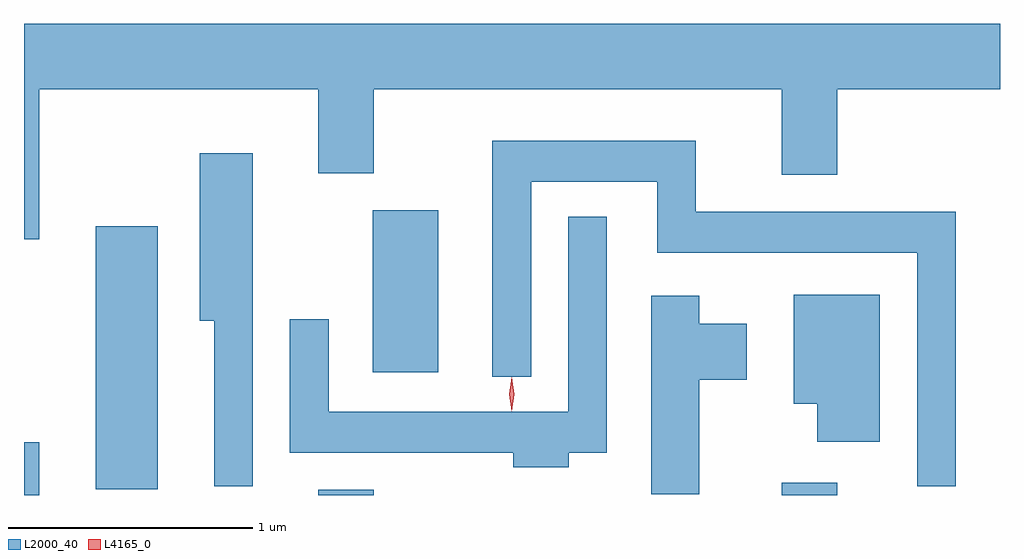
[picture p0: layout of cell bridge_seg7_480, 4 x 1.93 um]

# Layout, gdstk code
import gdstk
lib = gdstk.Library(unit=1e-6, precision=1e-09)
def R(c, l, rs):  # rectangles x0, y0, x1, y1
    for r in rs: c.add(gdstk.rectangle(r[:2], r[2:], *l))
def P(c, l, *ps):  # polygons
    for p in ps: c.add(gdstk.Polygon(p, *l))
L2000_40 = (2000, 40)
L4165_0 = (4165, 0)

bridge_seg7_480 = lib.new_cell('bridge_seg7_480')
R(bridge_seg7_480, L2000_40, [(1420.776,1668.252,1420.839,1668.469), (1421.981,1668.252,1422.209,1668.274), (1423.881,1668.252,1424.109,1668.304), (1421.071,1668.276,1421.324,1669.354), (1422.206,1668.756,1422.474,1669.419)])
P(bridge_seg7_480, L2000_40, [(1420.839,1669.916),(1421.981,1669.916),(1421.981,1669.571),(1422.209,1669.571),(1422.209,1669.916),(1423.881,1669.916),(1423.881,1669.566),(1424.109,1669.566),(1424.109,1669.916),(1424.776,1669.916),(1424.776,1670.184),(1420.776,1670.184),(1420.776,1669.301),(1420.839,1669.301)],
  [(1424.594,1669.414),(1423.529,1669.414),(1423.529,1669.704),(1422.696,1669.704),(1422.696,1668.738),(1422.854,1668.738),(1422.854,1669.536),(1423.371,1669.536),(1423.371,1669.246),(1424.436,1669.246),(1424.436,1668.288),(1424.594,1668.288)],
  [(1421.714,1669.654),(1421.496,1669.654),(1421.496,1668.966),(1421.556,1668.966),(1421.556,1668.288),(1421.714,1668.288)],
  [(1423.009,1668.426),(1423.164,1668.426),(1423.164,1669.393),(1423.006,1669.393),(1423.006,1668.594),(1422.024,1668.594),(1422.024,1668.973),(1421.866,1668.973),(1421.866,1668.426),(1422.781,1668.426),(1422.781,1668.366),(1423.009,1668.366)],
  [(1424.284,1669.074),(1423.931,1669.074),(1423.931,1668.626),(1424.026,1668.626),(1424.026,1668.471),(1424.284,1668.471)],
  [(1423.544,1668.726),(1423.739,1668.726),(1423.739,1668.954),(1423.544,1668.954),(1423.544,1669.069),(1423.346,1669.069),(1423.346,1668.256),(1423.544,1668.256)])
P(bridge_seg7_480, L4165_0, [(1422.775,1668.599),(1422.774,1668.6),(1422.765,1668.666),(1422.774,1668.732),(1422.775,1668.733),(1422.775,1668.732),(1422.785,1668.666),(1422.775,1668.6)],
  [(1422.774,1668.597),(1422.765,1668.666),(1422.774,1668.736),(1422.775,1668.736),(1422.775,1668.736),(1422.785,1668.666),(1422.775,1668.597),(1422.775,1668.597)])

lib.write_gds('bridge_seg7_480.gds')
